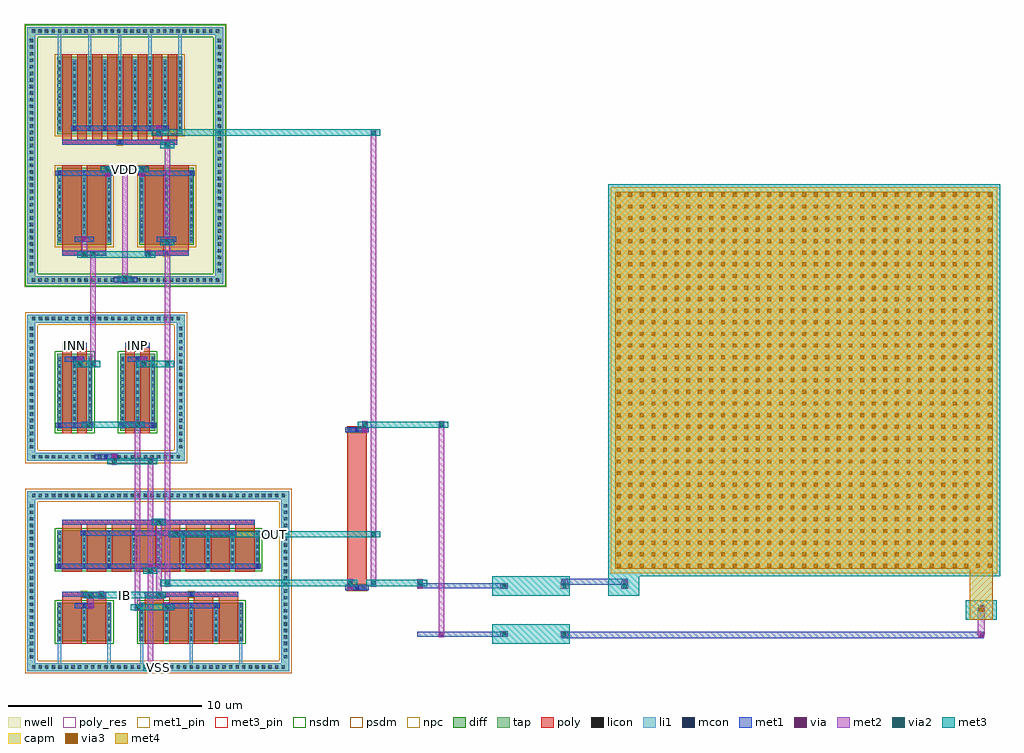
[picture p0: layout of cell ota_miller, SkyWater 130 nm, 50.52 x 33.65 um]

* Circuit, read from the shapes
.subckt ota_miller IB INN INP OUT VDD VSS
XM1 IB IB VSS VSS sky130_fd_pr__nfet_01v8 w=2 l=1 m=2
XM2 OUT IB VSS VSS sky130_fd_pr__nfet_01v8 w=2 l=1 m=8
XM3 n1 INN n2 VSS sky130_fd_pr__nfet_01v8 w=4 l=0.5 m=2
XM4 n3 INP n2 VSS sky130_fd_pr__nfet_01v8 w=4 l=0.5 m=2
XM5 n2 IB VSS VSS sky130_fd_pr__nfet_01v8 w=2 l=1 m=4
XM6 n1 n1 VDD VDD sky130_fd_pr__pfet_01v8 w=4 l=1 m=2
XM7 OUT n3 VDD VDD sky130_fd_pr__pfet_01v8 w=4 l=0.5 m=8
XM8 n3 n1 VDD VDD sky130_fd_pr__pfet_01v8 w=4 l=1 m=2
XC9 n4 OUT sky130_fd_pr__cap_mim_m3_1 w=20 l=20
R10 n4 n3 sky130_fd_pr__res_generic_po w=1 l=8
.ends

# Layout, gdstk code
import gdstk
lib = gdstk.Library(unit=1e-6, precision=1e-09)
def R(c, l, rs):  # rectangles x0, y0, x1, y1
    for r in rs: c.add(gdstk.rectangle(r[:2], r[2:], *l))
def A(c, l, x, y, w, h, nx, ny, dx, dy):  # array of equal rectangles
    R(c, l, [(x+i*dx, y+j*dy, x+i*dx+w, y+j*dy+h) for i in range(nx) for j in range(ny)])
nwell = (64, 20)
diff = (65, 20)
tap = (65, 44)
poly_res = (66, 13)
poly = (66, 20)
licon = (66, 44)
li1 = (67, 20)
mcon = (67, 44)
met1_pin = (68, 16)
met1 = (68, 20)
via = (68, 44)
met2 = (69, 20)
via2 = (69, 44)
met3_pin = (70, 16)
met3 = (70, 20)
via3 = (70, 44)
met4 = (71, 20)
capm = (89, 44)
nsdm = (93, 44)
psdm = (94, 20)
npc = (95, 20)

ota_miller = lib.new_cell('ota_miller')
R(ota_miller, nwell, [(-1.59,18.45,8.91,32.11)])
R(ota_miller, diff, [(0.125,0.13,2.935,2.13), (4.385,0.13,9.755,2.13), (0.125,3.87,10.615,5.87), (0.125,11.02,1.935,15.02), (3.385,11.02,5.195,15.02), (0.125,20.65,2.935,24.65), (4.385,20.65,7.195,24.65), (0.125,26.39,6.615,30.39)])
R(ota_miller, tap, [(-1.41,-1.41,12.15,-1), (-1.41,-1,-1,7.48), (11.74,-1,12.15,7.48), (-1.41,7.48,12.15,7.89), (-1.41,9.48,6.73,9.89), (-1.41,9.89,-1,16.63), (6.32,9.89,6.73,16.63), (-1.41,16.63,6.73,17.04), (-1.41,18.63,8.73,19.04), (-1.41,19.04,-1,31.52), (8.32,19.04,8.73,31.52), (-1.41,31.52,8.73,31.93)])
R(ota_miller, poly_res, [(15.15,3,16.15,11)])
A(ota_miller, poly, 4.65, 0, 1, 2.26, 4, 1, 1.28, 0)
A(ota_miller, poly, 4.65, 0, 1, 2.555, 4, 1, 1.28, 0)
A(ota_miller, poly, 0.39, 3.74, 1, 2.26, 8, 1, 1.28, 0)
A(ota_miller, poly, 0.39, 3.74, 1, 2.555, 8, 1, 1.28, 0)
A(ota_miller, poly, 0.39, 25.965, 0.5, 4.555, 8, 1, 0.78, 0)
A(ota_miller, poly, 0.39, 26.26, 0.5, 4.26, 8, 1, 0.78, 0)
R(ota_miller, poly, [(0.39,0,1.39,2.26), (0.39,0,1.39,2.555), (1.67,0,2.67,2.26), (1.67,0,2.67,2.555), (0.39,2.42,2.67,2.69), (1.365,2.42,1.695,2.69), (4.65,2.42,9.49,2.69), (6.905,2.42,7.235,2.69), (15.15,2.75,16.15,11.25), (0.39,6.16,10.35,6.43), (5.205,6.16,5.535,6.43), (0.39,10.89,0.89,15.15), (0.39,10.89,0.89,15.445), (1.17,10.89,1.67,15.15), (1.17,10.89,1.67,15.445), (3.65,10.89,4.15,15.15), (3.65,10.89,4.15,15.445), (4.43,10.89,4.93,15.15), (4.43,10.89,4.93,15.445), (0.39,15.31,1.67,15.58), (0.865,15.31,1.195,15.58), (3.65,15.31,4.93,15.58), (4.125,15.31,4.455,15.58), (0.39,20.09,2.67,20.36), (1.365,20.09,1.695,20.36), (4.65,20.09,6.93,20.36), (5.625,20.09,5.955,20.36), (0.39,20.225,1.39,24.78), (1.67,20.225,2.67,24.78), (4.65,20.225,5.65,24.78), (5.93,20.225,6.93,24.78), (0.39,20.52,1.39,24.78), (1.67,20.52,2.67,24.78), (4.65,20.52,5.65,24.78), (5.93,20.52,6.93,24.78), (0.39,25.83,6.35,26.1), (3.205,25.83,3.535,26.1)])
A(ota_miller, licon, -1.175, -1.29, 0.17, 0.17, 39, 2, 0.34, 8.89)
A(ota_miller, licon, -1.29, -0.755, 0.17, 0.17, 1, 24, 0, 0.34)
A(ota_miller, licon, 11.86, -0.755, 0.17, 0.17, 1, 24, 0, 0.34)
A(ota_miller, licon, 0.165, 0.195, 0.17, 0.17, 3, 6, 1.28, 0.34)
A(ota_miller, licon, 4.425, 0.195, 0.17, 0.17, 5, 6, 1.28, 0.34)
A(ota_miller, licon, 15.225, 2.83, 0.17, 0.17, 3, 2, 0.34, 8.17)
A(ota_miller, licon, 0.165, 3.935, 0.17, 0.17, 9, 6, 1.28, 0.34)
A(ota_miller, licon, -1.165, 9.6, 0.17, 0.17, 23, 2, 0.34, 7.15)
A(ota_miller, licon, -1.29, 10.115, 0.17, 0.17, 1, 19, 0, 0.34)
A(ota_miller, licon, 6.44, 10.115, 0.17, 0.17, 1, 19, 0, 0.34)
A(ota_miller, licon, 0.165, 11.235, 0.17, 0.17, 3, 11, 0.78, 0.34)
A(ota_miller, licon, 3.425, 11.235, 0.17, 0.17, 3, 11, 0.78, 0.34)
A(ota_miller, licon, -1.185, 18.75, 0.17, 0.17, 29, 2, 0.34, 12.89)
A(ota_miller, licon, -1.29, 19.245, 0.17, 0.17, 1, 36, 0, 0.34)
A(ota_miller, licon, 8.44, 19.245, 0.17, 0.17, 1, 36, 0, 0.34)
A(ota_miller, licon, 0.165, 20.865, 0.17, 0.17, 3, 11, 1.28, 0.34)
A(ota_miller, licon, 4.425, 20.865, 0.17, 0.17, 3, 11, 1.28, 0.34)
A(ota_miller, licon, 0.165, 26.605, 0.17, 0.17, 9, 11, 0.78, 0.34)
R(ota_miller, licon, [(1.445,2.47,1.615,2.64), (6.985,2.47,7.155,2.64), (5.285,6.21,5.455,6.38), (0.945,15.36,1.115,15.53), (4.205,15.36,4.375,15.53), (1.445,20.14,1.615,20.31), (5.705,20.14,5.875,20.31), (3.285,25.88,3.455,26.05)])
A(ota_miller, li1, 4.425, -1.1, 0.17, 1.215, 3, 1, 2.56, 0)
A(ota_miller, li1, 0.165, 0.115, 0.17, 2.03, 3, 1, 1.28, 0)
A(ota_miller, li1, 4.425, 0.115, 0.17, 2.03, 5, 1, 1.28, 0)
A(ota_miller, li1, 0.165, 3.855, 0.17, 0.33, 5, 1, 2.56, 0)
A(ota_miller, li1, 0.165, 3.855, 0.17, 2.03, 9, 1, 1.28, 0)
A(ota_miller, li1, 1.445, 5.555, 0.17, 0.33, 4, 1, 2.56, 0)
A(ota_miller, li1, 0.165, 11.155, 0.17, 3.73, 3, 1, 0.78, 0)
A(ota_miller, li1, 3.425, 11.155, 0.17, 3.73, 3, 1, 0.78, 0)
A(ota_miller, li1, 0.165, 20.785, 0.17, 3.73, 3, 1, 1.28, 0)
A(ota_miller, li1, 4.425, 20.785, 0.17, 3.73, 3, 1, 1.28, 0)
A(ota_miller, li1, 0.165, 26.525, 0.17, 3.73, 9, 1, 0.78, 0)
A(ota_miller, li1, 0.945, 26.525, 0.17, 0.33, 4, 1, 1.56, 0)
A(ota_miller, li1, 0.165, 30.255, 0.17, 1.365, 5, 1, 1.56, 0)
R(ota_miller, li1, [(-1.41,-1.41,12.15,-1), (5.205,-1.29,5.535,-1.12), (0.165,-1.1,0.335,0.115), (2.725,-1.1,2.895,0.115), (-1.41,-1,-1,7.48), (11.74,-1,12.15,7.48), (1.445,1.815,1.615,2.145), (5.705,1.815,5.875,2.145), (8.265,1.815,8.435,2.145), (1.365,2.47,1.695,2.64), (6.905,2.47,7.235,2.64), (15.145,2.83,16.155,3), (15.485,2.83,15.815,3), (5.205,6.21,5.535,6.38), (-1.41,7.48,12.15,7.89), (-1.41,9.48,6.73,9.89), (2.495,9.6,2.825,9.77), (-1.41,9.89,-1,16.63), (6.32,9.89,6.73,16.63), (15.145,11,16.155,11.17), (15.485,11,15.815,11.17), (0.165,11.155,0.335,11.485), (1.725,11.155,1.895,11.485), (3.425,11.155,3.595,11.485), (4.985,11.155,5.155,11.485), (0.945,14.555,1.115,14.885), (4.205,14.555,4.375,14.885), (0.865,15.36,1.195,15.53), (4.125,15.36,4.455,15.53), (-1.41,16.63,6.73,17.04), (-1.41,18.63,8.73,19.04), (3.495,18.75,3.825,18.92), (-1.41,19.04,-1,31.52), (8.32,19.04,8.73,31.52), (1.365,20.14,1.695,20.31), (5.625,20.14,5.955,20.31), (1.445,20.785,1.615,21.115), (5.705,20.785,5.875,21.115), (0.165,24.185,0.335,24.515), (2.725,24.185,2.895,24.515), (4.425,24.185,4.595,24.515), (6.985,24.185,7.155,24.515), (3.205,25.88,3.535,26.05), (-1.41,31.52,8.73,31.93)])
A(ota_miller, mcon, 0.165, 3.935, 0.17, 0.17, 5, 1, 2.56, 0)
A(ota_miller, mcon, 1.445, 5.635, 0.17, 0.17, 4, 1, 2.56, 0)
A(ota_miller, mcon, 0.945, 26.605, 0.17, 0.17, 4, 1, 1.56, 0)
R(ota_miller, mcon, [(5.285,-1.29,5.455,-1.12), (1.445,1.895,1.615,2.065), (5.705,1.895,5.875,2.065), (8.265,1.895,8.435,2.065), (1.445,2.47,1.615,2.64), (6.985,2.47,7.155,2.64), (15.565,2.83,15.735,3), (5.285,6.21,5.455,6.38), (2.575,9.6,2.745,9.77), (15.565,11,15.735,11.17), (0.165,11.235,0.335,11.405), (1.725,11.235,1.895,11.405), (3.425,11.235,3.595,11.405), (4.985,11.235,5.155,11.405), (0.945,14.635,1.115,14.805), (4.205,14.635,4.375,14.805), (0.945,15.36,1.115,15.53), (4.205,15.36,4.375,15.53), (3.575,18.75,3.745,18.92), (1.445,20.14,1.615,20.31), (5.705,20.14,5.875,20.31), (1.445,20.865,1.615,21.035), (5.705,20.865,5.875,21.035), (0.165,24.265,0.335,24.435), (2.725,24.265,2.895,24.435), (4.425,24.265,4.595,24.435), (6.985,24.265,7.155,24.435), (3.285,25.88,3.455,26.05)])
R(ota_miller, met1_pin, [(4.77,-1.335,5.97,-1.075), (0.39,15.315,1.67,15.575), (3.65,15.315,4.93,15.575)])
A(ota_miller, met1, 0.065, 3.905, 0.37, 0.23, 5, 1, 2.56, 0)
A(ota_miller, met1, 1.345, 5.605, 0.37, 0.23, 4, 1, 2.56, 0)
A(ota_miller, met1, 0.845, 26.575, 0.37, 0.23, 4, 1, 1.56, 0)
R(ota_miller, met1, [(4.77,-1.335,5.97,-1.075), (5.23,-1.335,5.55,-1.075), (5.185,-1.32,5.555,-1.09), (26.26,0.3,26.52,0.62), (26.39,0.3,47.97,0.62), (47.84,0.3,48.1,0.62), (18.755,0.37,23.255,0.63), (18.755,0.37,21.255,0.63), (19.86,0.37,20.18,0.63), (23.095,0.37,23.415,0.63), (47.84,1.68,48.1,2), (47.84,1.68,48.1,2), (1.03,1.85,2.03,2.11), (1.71,1.85,2.03,2.11), (5.605,1.85,8.535,2.11), (5.67,1.85,5.99,2.11), (1.345,1.865,1.715,2.095), (5.605,1.865,5.975,2.095), (8.165,1.865,8.535,2.095), (0.39,2.425,2.67,2.685), (2.26,2.425,2.58,2.685), (4.65,2.425,9.49,2.685), (5.23,2.425,5.55,2.685), (1.345,2.44,1.715,2.67), (6.885,2.44,7.255,2.67), (15.05,2.785,16.25,3.045), (15.13,2.785,15.45,3.045), (15.465,2.8,15.835,3.03), (18.755,2.87,23.255,3.13), (18.755,2.87,21.255,3.13), (18.76,2.87,19.08,3.13), (23.095,2.87,23.415,3.13), (26.26,3.06,26.52,3.38), (26.39,3.06,29.51,3.38), (29.38,3.06,29.64,3.38), (29.38,3.06,29.64,3.38), (29.38,3.06,29.64,3.38), (0.065,3.89,10.675,4.15), (4.79,3.89,5.11,4.15), (1.345,5.59,9.395,5.85), (6.11,5.59,6.43,5.85), (0.39,6.165,10.35,6.425), (5.23,6.165,5.55,6.425), (5.185,6.18,5.555,6.41), (2.06,9.555,3.26,9.815), (2.92,9.555,3.24,9.815), (2.475,9.57,2.845,9.8), (15.05,10.955,16.25,11.215), (15.9,10.955,16.22,11.215), (15.465,10.97,15.835,11.2), (0.065,11.19,1.995,11.45), (1.6,11.19,1.92,11.45), (3.325,11.19,5.255,11.45), (4.13,11.19,4.45,11.45), (0.065,11.205,0.435,11.435), (1.625,11.205,1.995,11.435), (3.325,11.205,3.695,11.435), (4.885,11.205,5.255,11.435), (0.53,14.59,1.53,14.85), (1.16,14.59,1.48,14.85), (3.79,14.59,4.79,14.85), (4.46,14.59,4.78,14.85), (0.845,14.605,1.215,14.835), (4.105,14.605,4.475,14.835), (0.39,15.315,1.67,15.575), (0.39,15.315,1.67,15.575), (3.65,15.315,4.93,15.575), (3.65,15.315,4.93,15.575), (0.845,15.33,1.215,15.56), (4.105,15.33,4.475,15.56), (3.06,18.705,4.26,18.965), (3.47,18.705,3.79,18.965), (3.475,18.72,3.845,18.95), (0.39,20.095,2.67,20.355), (1.38,20.095,1.7,20.355), (4.65,20.095,6.93,20.355), (4.68,20.095,5,20.355), (1.345,20.11,1.715,20.34), (5.605,20.11,5.975,20.34), (1.03,20.82,2.03,21.08), (1.38,20.82,1.7,21.08), (5.29,20.82,6.29,21.08), (5.67,20.82,5.99,21.08), (1.345,20.835,1.715,21.065), (5.605,20.835,5.975,21.065), (0.065,24.22,2.995,24.48), (2.59,24.22,2.91,24.48), (4.325,24.22,7.255,24.48), (4.35,24.22,4.67,24.48), (0.065,24.235,0.435,24.465), (2.625,24.235,2.995,24.465), (4.325,24.235,4.695,24.465), (6.885,24.235,7.255,24.465), (0.39,25.835,6.35,26.095), (5.67,25.835,5.99,26.095), (3.185,25.85,3.555,26.08), (0.845,26.56,5.895,26.82), (5.23,26.56,5.55,26.82)])
R(ota_miller, via, [(5.315,-1.28,5.465,-1.13), (26.315,0.385,26.465,0.535), (47.895,0.385,48.045,0.535), (19.945,0.425,20.095,0.575), (23.18,0.425,23.33,0.575), (47.895,1.765,48.045,1.915), (47.895,1.765,48.045,1.915), (1.795,1.905,1.945,2.055), (5.755,1.905,5.905,2.055), (2.345,2.48,2.495,2.63), (5.315,2.48,5.465,2.63), (15.215,2.84,15.365,2.99), (18.845,2.925,18.995,3.075), (23.18,2.925,23.33,3.075), (26.315,3.145,26.465,3.295), (29.435,3.145,29.585,3.295), (29.435,3.145,29.585,3.295), (29.435,3.145,29.585,3.295), (4.875,3.945,5.025,4.095), (6.195,5.645,6.345,5.795), (5.315,6.22,5.465,6.37), (3.005,9.61,3.155,9.76), (15.985,11.01,16.135,11.16), (1.685,11.245,1.835,11.395), (4.215,11.245,4.365,11.395), (1.245,14.645,1.395,14.795), (4.545,14.645,4.695,14.795), (3.555,18.76,3.705,18.91), (1.465,20.15,1.615,20.3), (4.765,20.15,4.915,20.3), (1.465,20.875,1.615,21.025), (5.755,20.875,5.905,21.025), (2.675,24.275,2.825,24.425), (4.435,24.275,4.585,24.425), (5.755,25.89,5.905,26.04), (5.315,26.615,5.465,26.765)])
A(ota_miller, met2, 2.61, 24.385, 0.28, 0.37, 3, 1, 0.88, 0)
R(ota_miller, met2, [(4.81,-1.445,5.09,-1.075), (5.25,-1.445,5.53,-1.075), (5.26,-1.365,5.52,-1.045), (4.81,-1.26,5.09,9.45), (5.25,-1.26,5.53,-1.205), (26.23,0.33,26.55,0.59), (47.81,0.33,48.13,0.59), (19.89,0.34,20.15,0.66), (23.07,0.36,23.44,0.64), (26.205,0.36,26.575,0.64), (26.205,0.46,26.575,0.5), (47.785,0.46,48.155,1.84), (19.88,0.5,20.16,11.34), (47.785,1.61,48.155,1.89), (4.15,1.705,4.43,2.075), (5.69,1.705,5.97,2.075), (47.81,1.71,48.13,1.97), (47.81,1.71,48.13,1.97), (47.785,1.75,48.155,1.84), (1.74,1.82,2,2.14), (5.7,1.82,5.96,2.14), (4.15,1.89,4.43,11.34), (5.69,1.89,5.97,1.98), (1.73,1.98,2.01,2.52), (1.73,2.335,2.01,2.705), (2.28,2.335,2.56,2.705), (5.25,2.335,5.53,2.705), (5.25,2.335,5.53,2.705), (2.29,2.395,2.55,2.715), (5.26,2.395,5.52,2.715), (2.28,2.52,2.56,2.555), (5.25,2.52,5.53,2.555), (5.25,2.52,5.53,6.3), (15.16,2.755,15.42,3.075), (18.79,2.84,19.05,3.16), (23.07,2.86,23.44,3.14), (26.205,2.86,26.575,3.14), (29.325,2.86,29.695,3.14), (15.15,2.915,15.43,3.15), (5.69,2.965,5.97,3.335), (15.15,2.965,15.43,3.335), (16.36,2.965,16.64,3.335), (18.78,2.965,19.06,3.335), (18.78,3,19.06,3.15), (26.205,3,26.575,3.22), (29.325,3,29.695,3.22), (26.23,3.09,26.55,3.35), (29.35,3.09,29.67,3.35), (29.35,3.09,29.67,3.35), (29.35,3.09,29.67,3.35), (5.69,3.15,5.97,25.83), (16.36,3.15,16.64,26.46), (4.81,3.595,5.09,3.965), (4.81,3.595,5.09,3.965), (4.81,3.78,5.09,4.02), (4.82,3.86,5.08,4.18), (6.13,5.485,6.41,5.855), (16.36,5.485,16.64,5.855), (6.14,5.56,6.4,5.88), (6.13,5.67,6.41,5.72), (5.25,6.115,5.53,6.485), (5.25,6.115,5.53,6.485), (5.26,6.135,5.52,6.455), (5.25,6.295,5.53,6.3), (2.94,9.265,3.22,9.635), (4.81,9.265,5.09,9.635), (2.94,9.45,3.22,9.685), (2.95,9.525,3.21,9.845), (15.93,10.925,16.19,11.245), (15.92,11.085,16.2,11.34), (1.62,11.155,1.9,11.525), (4.15,11.155,4.43,11.525), (4.15,11.155,4.43,11.525), (15.92,11.155,16.2,11.525), (19.88,11.155,20.16,11.525), (1.63,11.16,1.89,11.48), (4.16,11.16,4.42,11.48), (1.62,11.32,1.9,11.34), (4.15,11.32,4.43,11.34), (1.18,14.305,1.46,14.675), (1.84,14.305,2.12,14.675), (4.48,14.305,4.76,14.675), (5.69,14.305,5.97,14.675), (1.18,14.49,1.46,14.72), (1.84,14.49,2.12,20.16), (4.48,14.49,4.76,14.72), (1.19,14.56,1.45,14.88), (4.49,14.56,4.75,14.88), (3.5,18.675,3.76,18.995), (3.49,18.715,3.77,19.085), (3.49,18.715,3.77,19.085), (3.49,18.835,3.77,18.9), (3.49,18.9,3.77,24.57), (1.4,19.975,1.68,20.345), (1.4,19.975,1.68,20.345), (1.84,19.975,2.12,20.345), (4.7,19.975,4.98,20.345), (1.41,20.065,1.67,20.385), (4.71,20.065,4.97,20.385), (1.4,20.16,1.68,20.225), (1.4,20.16,1.68,20.95), (4.7,20.16,4.98,20.225), (5.69,20.605,5.97,20.975), (5.69,20.605,5.97,20.975), (1.41,20.79,1.67,21.11), (5.69,20.79,5.97,20.95), (5.7,20.79,5.96,21.11), (2.62,24.19,2.88,24.51), (4.38,24.19,4.64,24.51), (2.61,24.35,2.89,24.57), (4.37,24.35,4.65,24.57), (5.69,25.645,5.97,26.015), (5.69,25.645,5.97,26.015), (5.7,25.805,5.96,26.125), (5.69,25.83,5.97,25.965), (5.25,26.275,5.53,26.645), (16.36,26.275,16.64,26.645), (5.25,26.46,5.53,26.69), (5.26,26.53,5.52,26.85)])
A(ota_miller, via2, 2.65, 24.47, 0.2, 0.2, 3, 1, 0.88, 0)
R(ota_miller, via2, [(4.85,-1.36,5.05,-1.16), (5.29,-1.36,5.49,-1.16), (23.155,0.4,23.355,0.6), (26.29,0.4,26.49,0.6), (47.87,1.65,48.07,1.85), (4.19,1.79,4.39,1.99), (5.73,1.79,5.93,1.99), (1.77,2.42,1.97,2.62), (2.32,2.42,2.52,2.62), (5.29,2.42,5.49,2.62), (5.29,2.42,5.49,2.62), (23.155,2.9,23.355,3.1), (26.29,2.9,26.49,3.1), (29.41,2.9,29.61,3.1), (5.73,3.05,5.93,3.25), (15.19,3.05,15.39,3.25), (16.4,3.05,16.6,3.25), (18.82,3.05,19.02,3.25), (4.85,3.68,5.05,3.88), (4.85,3.68,5.05,3.88), (6.17,5.57,6.37,5.77), (16.4,5.57,16.6,5.77), (5.29,6.2,5.49,6.4), (5.29,6.2,5.49,6.4), (2.98,9.35,3.18,9.55), (4.85,9.35,5.05,9.55), (1.66,11.24,1.86,11.44), (4.19,11.24,4.39,11.44), (4.19,11.24,4.39,11.44), (15.96,11.24,16.16,11.44), (19.92,11.24,20.12,11.44), (1.22,14.39,1.42,14.59), (1.88,14.39,2.08,14.59), (4.52,14.39,4.72,14.59), (5.73,14.39,5.93,14.59), (3.53,18.8,3.73,19), (3.53,18.8,3.73,19), (1.44,20.06,1.64,20.26), (1.44,20.06,1.64,20.26), (1.88,20.06,2.08,20.26), (4.74,20.06,4.94,20.26), (5.73,20.69,5.93,20.89), (5.73,20.69,5.93,20.89), (5.73,25.73,5.93,25.93), (5.73,25.73,5.93,25.93), (5.29,26.36,5.49,26.56), (16.4,26.36,16.6,26.56)])
R(ota_miller, met3_pin, [(1.87,2.355,5.39,2.685), (6.27,5.505,16.5,5.835), (2.75,24.405,4.51,24.735)])
A(ota_miller, met3, 2.385, 24.405, 0.73, 0.33, 3, 1, 0.88, 0)
R(ota_miller, met3, [(4.585,-1.425,5.315,-1.095), (4.95,-1.425,5.39,-1.095), (5.025,-1.425,5.755,-1.095), (22.655,0,26.655,1), (24.255,0,26.655,1), (26.225,0.135,26.555,0.865), (22.89,0.335,23.62,0.665), (47.16,1.25,48.76,2.25), (47.8,1.375,48.12,2.125), (47.805,1.385,48.135,2.115), (3.925,1.725,4.655,2.055), (4.29,1.725,5.83,2.055), (5.465,1.725,6.195,2.055), (1.505,2.355,2.235,2.685), (1.87,2.355,5.39,2.685), (2.055,2.355,2.785,2.685), (5.025,2.355,5.755,2.685), (5.025,2.355,5.755,2.685), (22.655,2.5,26.655,3.5), (24.255,2.5,26.655,3.5), (28.655,2.5,30.255,3.5), (26.225,2.635,26.555,3.365), (29.345,2.635,29.675,3.365), (22.89,2.835,23.62,3.165), (5.465,2.985,6.195,3.315), (5.83,2.985,15.29,3.315), (14.925,2.985,15.655,3.315), (16.135,2.985,16.865,3.315), (16.5,2.985,18.92,3.315), (18.555,2.985,19.285,3.315), (28.655,3.5,48.935,23.78), (4.585,3.615,5.315,3.945), (4.585,3.615,5.315,3.945), (5.905,5.505,6.635,5.835), (6.27,5.505,16.5,5.835), (16.135,5.505,16.865,5.835), (5.025,6.135,5.755,6.465), (5.025,6.135,5.755,6.465), (2.715,9.285,3.445,9.615), (3.08,9.285,4.95,9.615), (4.585,9.285,5.315,9.615), (1.395,11.175,2.125,11.505), (1.76,11.175,4.29,11.505), (3.925,11.175,4.655,11.505), (3.925,11.175,4.655,11.505), (15.695,11.175,16.425,11.505), (16.06,11.175,20.02,11.505), (19.655,11.175,20.385,11.505), (0.955,14.325,1.685,14.655), (1.32,14.325,1.98,14.655), (1.615,14.325,2.345,14.655), (4.255,14.325,4.985,14.655), (4.62,14.325,5.83,14.655), (5.465,14.325,6.195,14.655), (3.265,18.735,3.995,19.065), (3.265,18.735,3.995,19.065), (1.175,19.995,1.905,20.325), (1.175,19.995,1.905,20.325), (1.54,19.995,4.84,20.325), (1.615,19.995,2.345,20.325), (4.475,19.995,5.205,20.325), (5.465,20.625,6.195,20.955), (5.465,20.625,6.195,20.955), (2.75,24.405,4.51,24.735), (5.465,25.665,6.195,25.995), (5.465,25.665,6.195,25.995), (5.025,26.295,5.755,26.625), (5.39,26.295,16.5,26.625), (16.135,26.295,16.865,26.625)])
A(ota_miller, via3, 29.095, 3.94, 0.2, 0.2, 33, 33, 0.6, 0.6)
R(ota_miller, via3, [(47.86,1.65,48.06,1.85)])
R(ota_miller, met4, [(47.36,1.25,48.56,4.375), (47.795,1.385,48.125,2.115), (29.03,3.875,48.56,23.405)])
R(ota_miller, capm, [(28.795,3.64,48.795,23.64)])
R(ota_miller, nsdm, [(0,0.005,3.06,2.255), (4.26,0.005,9.88,2.255), (0,3.745,10.74,5.995), (0,10.895,2.06,15.145), (3.26,10.895,5.32,15.145), (-1.535,18.505,8.855,19.165), (-1.535,18.915,-0.875,31.645), (8.195,18.915,8.855,31.645), (-1.535,31.395,8.855,32.055)])
R(ota_miller, psdm, [(-1.535,-1.535,12.275,-0.875), (-1.535,-1.125,-0.875,7.605), (11.615,-1.125,12.275,7.605), (-1.535,7.355,12.275,8.015), (-1.535,9.355,6.855,10.015), (-1.535,9.765,-0.875,16.755), (6.195,9.765,6.855,16.755), (-1.535,16.505,6.855,17.165), (0,20.525,3.06,24.775), (4.26,20.525,7.32,24.775), (0,26.265,6.74,30.515)])
R(ota_miller, npc, [(1.345,2.37,1.715,2.74), (6.885,2.37,7.255,2.74), (15.125,2.73,16.175,3.1), (5.185,6.11,5.555,6.48), (15.125,10.9,16.175,11.27), (0.845,15.26,1.215,15.63), (4.105,15.26,4.475,15.63), (1.345,20.04,1.715,20.41), (5.605,20.04,5.975,20.41), (3.185,25.78,3.555,26.15)])
ota_miller.add(gdstk.Label('INP', (4.29,15.445), layer=68, texttype=16))
ota_miller.add(gdstk.Label('INN', (1.03,15.445), layer=68, texttype=16))
ota_miller.add(gdstk.Label('VSS', (5.37,-1.205), layer=68, texttype=16))
ota_miller.add(gdstk.Label('INP', (4.29,15.445), layer=68, texttype=5))
ota_miller.add(gdstk.Label('INN', (1.03,15.445), layer=68, texttype=5))
ota_miller.add(gdstk.Label('VSS', (5.37,-1.205), layer=68, texttype=5))
ota_miller.add(gdstk.Label('OUT', (11.385,5.67), layer=70, texttype=16))
ota_miller.add(gdstk.Label('IB', (3.63,2.52), layer=70, texttype=16))
ota_miller.add(gdstk.Label('VDD', (3.63,24.57), layer=70, texttype=16))
ota_miller.add(gdstk.Label('OUT', (11.385,5.67), layer=70, texttype=5))
ota_miller.add(gdstk.Label('IB', (3.63,2.52), layer=70, texttype=5))
ota_miller.add(gdstk.Label('VDD', (3.63,24.57), layer=70, texttype=5))

lib.write_gds('ota_miller.gds')
